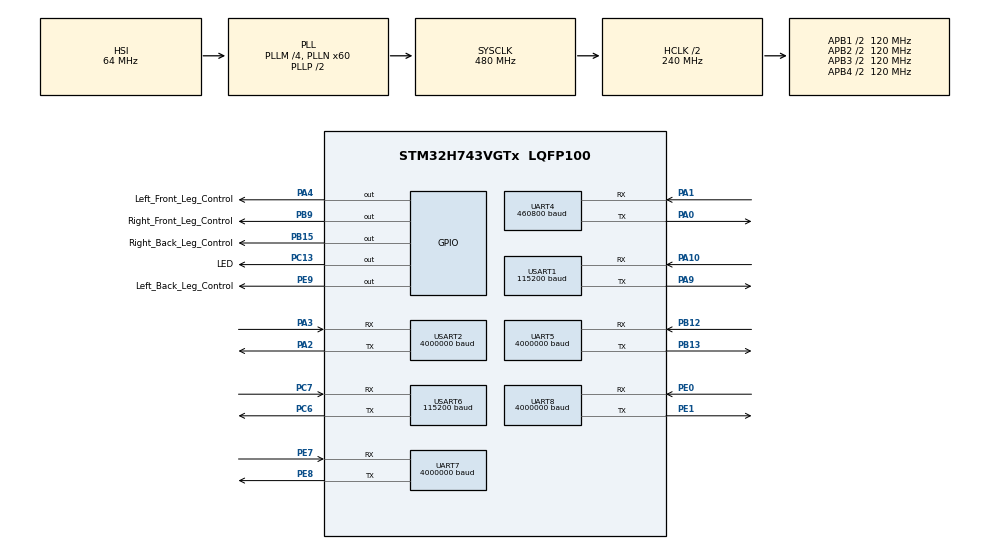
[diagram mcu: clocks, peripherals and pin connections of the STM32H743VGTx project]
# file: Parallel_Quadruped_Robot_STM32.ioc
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Dma.Request0=UART7_RX
Dma.Request1=UART7_TX
Dma.Request2=USART2_RX
Dma.Request3=USART2_TX
Dma.Request4=UART8_RX
Dma.Request5=UART8_TX
Dma.Request6=UART5_RX
Dma.Request7=UART5_TX
Dma.Request8=USART6_RX
Dma.Request9=USART6_TX
Dma.UART5_RX.6.Direction=DMA_PERIPH_TO_MEMORY
Dma.UART5_RX.6.EventEnable=DISABLE
Dma.UART5_RX.6.FIFOMode=DMA_FIFOMODE_DISABLE
Dma.UART5_RX.6.Instance=DMA1_Stream6
Dma.UART5_RX.6.MemDataAlignment=DMA_MDATAALIGN_BYTE
Dma.UART5_RX.6.MemInc=DMA_MINC_ENABLE
Dma.UART5_RX.6.Mode=DMA_NORMAL
Dma.UART5_RX.6.PeriphDataAlignment=DMA_PDATAALIGN_BYTE
Dma.UART5_RX.6.PeriphInc=DMA_PINC_DISABLE
Dma.UART5_RX.6.Polarity=HAL_DMAMUX_REQ_GEN_RISING
Dma.UART5_RX.6.Priority=DMA_PRIORITY_LOW
Dma.UART5_RX.6.RequestNumber=1
Dma.UART5_RX.6.SignalID=NONE
Dma.UART5_RX.6.SyncEnable=DISABLE
Dma.UART5_RX.6.SyncPolarity=HAL_DMAMUX_SYNC_NO_EVENT
Dma.UART5_RX.6.SyncRequestNumber=1
Dma.UART5_RX.6.SyncSignalID=NONE
Dma.UART5_TX.7.Direction=DMA_MEMORY_TO_PERIPH
Dma.UART5_TX.7.EventEnable=DISABLE
Dma.UART5_TX.7.FIFOMode=DMA_FIFOMODE_DISABLE
Dma.UART5_TX.7.Instance=DMA1_Stream7
Dma.UART5_TX.7.MemDataAlignment=DMA_MDATAALIGN_BYTE
Dma.UART5_TX.7.MemInc=DMA_MINC_ENABLE
Dma.UART5_TX.7.Mode=DMA_NORMAL
Dma.UART5_TX.7.PeriphDataAlignment=DMA_PDATAALIGN_BYTE
Dma.UART5_TX.7.PeriphInc=DMA_PINC_DISABLE
Dma.UART5_TX.7.Polarity=HAL_DMAMUX_REQ_GEN_RISING
Dma.UART5_TX.7.Priority=DMA_PRIORITY_LOW
Dma.UART5_TX.7.RequestNumber=1
Dma.UART5_TX.7.SignalID=NONE
Dma.UART5_TX.7.SyncEnable=DISABLE
Dma.UART5_TX.7.SyncPolarity=HAL_DMAMUX_SYNC_NO_EVENT
Dma.UART5_TX.7.SyncRequestNumber=1
Dma.UART5_TX.7.SyncSignalID=NONE
Dma.UART7_RX.0.Direction=DMA_PERIPH_TO_MEMORY
Dma.UART7_RX.0.EventEnable=DISABLE
Dma.UART7_RX.0.FIFOMode=DMA_FIFOMODE_DISABLE
Dma.UART7_RX.0.Instance=DMA1_Stream0
Dma.UART7_RX.0.MemDataAlignment=DMA_MDATAALIGN_BYTE
Dma.UART7_RX.0.MemInc=DMA_MINC_ENABLE
Dma.UART7_RX.0.Mode=DMA_NORMAL
Dma.UART7_RX.0.PeriphDataAlignment=DMA_PDATAALIGN_BYTE
Dma.UART7_RX.0.PeriphInc=DMA_PINC_DISABLE
Dma.UART7_RX.0.Polarity=HAL_DMAMUX_REQ_GEN_RISING
Dma.UART7_RX.0.Priority=DMA_PRIORITY_LOW
Dma.UART7_RX.0.RequestNumber=1
Dma.UART7_RX.0.SignalID=NONE
Dma.UART7_RX.0.SyncEnable=DISABLE
Dma.UART7_RX.0.SyncPolarity=HAL_DMAMUX_SYNC_NO_EVENT
Dma.UART7_RX.0.SyncRequestNumber=1
Dma.UART7_RX.0.SyncSignalID=NONE
Dma.UART7_TX.1.Direction=DMA_MEMORY_TO_PERIPH
Dma.UART7_TX.1.EventEnable=DISABLE
Dma.UART7_TX.1.FIFOMode=DMA_FIFOMODE_ENABLE
Dma.UART7_TX.1.FIFOThreshold=DMA_FIFO_THRESHOLD_FULL
Dma.UART7_TX.1.Instance=DMA1_Stream1
Dma.UART7_TX.1.MemBurst=DMA_MBURST_SINGLE
Dma.UART7_TX.1.MemDataAlignment=DMA_MDATAALIGN_BYTE
Dma.UART7_TX.1.MemInc=DMA_MINC_ENABLE
Dma.UART7_TX.1.Mode=DMA_NORMAL
Dma.UART7_TX.1.PeriphBurst=DMA_PBURST_SINGLE
Dma.UART7_TX.1.PeriphDataAlignment=DMA_PDATAALIGN_BYTE
Dma.UART7_TX.1.PeriphInc=DMA_PINC_DISABLE
Dma.UART7_TX.1.Polarity=HAL_DMAMUX_REQ_GEN_RISING
Dma.UART7_TX.1.Priority=DMA_PRIORITY_LOW
Dma.UART7_TX.1.RequestNumber=1
Dma.UART7_TX.1.SignalID=NONE
Dma.UART7_TX.1.SyncEnable=DISABLE
Dma.UART7_TX.1.SyncPolarity=HAL_DMAMUX_SYNC_NO_EVENT
Dma.UART7_TX.1.SyncRequestNumber=1
Dma.UART7_TX.1.SyncSignalID=NONE
Dma.UART8_RX.4.Direction=DMA_PERIPH_TO_MEMORY
Dma.UART8_RX.4.EventEnable=DISABLE
Dma.UART8_RX.4.FIFOMode=DMA_FIFOMODE_DISABLE
Dma.UART8_RX.4.Instance=DMA1_Stream4
Dma.UART8_RX.4.MemDataAlignment=DMA_MDATAALIGN_BYTE
Dma.UART8_RX.4.MemInc=DMA_MINC_ENABLE
Dma.UART8_RX.4.Mode=DMA_NORMAL
Dma.UART8_RX.4.PeriphDataAlignment=DMA_PDATAALIGN_BYTE
Dma.UART8_RX.4.PeriphInc=DMA_PINC_DISABLE
Dma.UART8_RX.4.Polarity=HAL_DMAMUX_REQ_GEN_RISING
Dma.UART8_RX.4.Priority=DMA_PRIORITY_LOW
Dma.UART8_RX.4.RequestNumber=1
Dma.UART8_RX.4.SignalID=NONE
Dma.UART8_RX.4.SyncEnable=DISABLE
Dma.UART8_RX.4.SyncPolarity=HAL_DMAMUX_SYNC_NO_EVENT
Dma.UART8_RX.4.SyncRequestNumber=1
Dma.UART8_RX.4.SyncSignalID=NONE
Dma.UART8_TX.5.Direction=DMA_MEMORY_TO_PERIPH
Dma.UART8_TX.5.EventEnable=DISABLE
Dma.UART8_TX.5.FIFOMode=DMA_FIFOMODE_DISABLE
Dma.UART8_TX.5.Instance=DMA1_Stream5
Dma.UART8_TX.5.MemDataAlignment=DMA_MDATAALIGN_BYTE
Dma.UART8_TX.5.MemInc=DMA_MINC_ENABLE
Dma.UART8_TX.5.Mode=DMA_NORMAL
Dma.UART8_TX.5.PeriphDataAlignment=DMA_PDATAALIGN_BYTE
Dma.UART8_TX.5.PeriphInc=DMA_PINC_DISABLE
Dma.UART8_TX.5.Polarity=HAL_DMAMUX_REQ_GEN_RISING
Dma.UART8_TX.5.Priority=DMA_PRIORITY_LOW
Dma.UART8_TX.5.RequestNumber=1
Dma.UART8_TX.5.SignalID=NONE
Dma.UART8_TX.5.SyncEnable=DISABLE
Dma.UART8_TX.5.SyncPolarity=HAL_DMAMUX_SYNC_NO_EVENT
Dma.UART8_TX.5.SyncRequestNumber=1
Dma.UART8_TX.5.SyncSignalID=NONE
Dma.USART2_RX.2.Direction=DMA_PERIPH_TO_MEMORY
Dma.USART2_RX.2.EventEnable=DISABLE
Dma.USART2_RX.2.FIFOMode=DMA_FIFOMODE_DISABLE
Dma.USART2_RX.2.Instance=DMA1_Stream2
Dma.USART2_RX.2.MemDataAlignment=DMA_MDATAALIGN_BYTE
Dma.USART2_RX.2.MemInc=DMA_MINC_ENABLE
Dma.USART2_RX.2.Mode=DMA_NORMAL
Dma.USART2_RX.2.PeriphDataAlignment=DMA_PDATAALIGN_BYTE
Dma.USART2_RX.2.PeriphInc=DMA_PINC_DISABLE
Dma.USART2_RX.2.Polarity=HAL_DMAMUX_REQ_GEN_RISING
Dma.USART2_RX.2.Priority=DMA_PRIORITY_LOW
Dma.USART2_RX.2.RequestNumber=1
Dma.USART2_RX.2.SignalID=NONE
Dma.USART2_RX.2.SyncEnable=DISABLE
Dma.USART2_RX.2.SyncPolarity=HAL_DMAMUX_SYNC_NO_EVENT
Dma.USART2_RX.2.SyncRequestNumber=1
Dma.USART2_RX.2.SyncSignalID=NONE
Dma.USART2_TX.3.Direction=DMA_MEMORY_TO_PERIPH
Dma.USART2_TX.3.EventEnable=DISABLE
Dma.USART2_TX.3.FIFOMode=DMA_FIFOMODE_DISABLE
Dma.USART2_TX.3.Instance=DMA1_Stream3
Dma.USART2_TX.3.MemDataAlignment=DMA_MDATAALIGN_BYTE
Dma.USART2_TX.3.MemInc=DMA_MINC_ENABLE
Dma.USART2_TX.3.Mode=DMA_NORMAL
Dma.USART2_TX.3.PeriphDataAlignment=DMA_PDATAALIGN_BYTE
Dma.USART2_TX.3.PeriphInc=DMA_PINC_DISABLE
Dma.USART2_TX.3.Polarity=HAL_DMAMUX_REQ_GEN_RISING
Dma.USART2_TX.3.Priority=DMA_PRIORITY_LOW
Dma.USART2_TX.3.RequestNumber=1
Dma.USART2_TX.3.SignalID=NONE
Dma.USART2_TX.3.SyncEnable=DISABLE
Dma.USART2_TX.3.SyncPolarity=HAL_DMAMUX_SYNC_NO_EVENT
Dma.USART2_TX.3.SyncRequestNumber=1
Dma.USART2_TX.3.SyncSignalID=NONE
Dma.USART6_RX.8.Direction=DMA_PERIPH_TO_MEMORY
Dma.USART6_RX.8.EventEnable=DISABLE
Dma.USART6_RX.8.FIFOMode=DMA_FIFOMODE_DISABLE
Dma.USART6_RX.8.Instance=DMA2_Stream0
Dma.USART6_RX.8.MemDataAlignment=DMA_MDATAALIGN_BYTE
Dma.USART6_RX.8.MemInc=DMA_MINC_ENABLE
Dma.USART6_RX.8.Mode=DMA_NORMAL
Dma.USART6_RX.8.PeriphDataAlignment=DMA_PDATAALIGN_BYTE
Dma.USART6_RX.8.PeriphInc=DMA_PINC_DISABLE
Dma.USART6_RX.8.Polarity=HAL_DMAMUX_REQ_GEN_RISING
Dma.USART6_RX.8.Priority=DMA_PRIORITY_LOW
Dma.USART6_RX.8.RequestNumber=1
Dma.USART6_RX.8.SignalID=NONE
Dma.USART6_RX.8.SyncEnable=DISABLE
Dma.USART6_RX.8.SyncPolarity=HAL_DMAMUX_SYNC_NO_EVENT
Dma.USART6_RX.8.SyncRequestNumber=1
Dma.USART6_RX.8.SyncSignalID=NONE
Dma.USART6_TX.9.Direction=DMA_MEMORY_TO_PERIPH
Dma.USART6_TX.9.EventEnable=DISABLE
Dma.USART6_TX.9.FIFOMode=DMA_FIFOMODE_DISABLE
Dma.USART6_TX.9.Instance=DMA2_Stream1
Dma.USART6_TX.9.MemDataAlignment=DMA_MDATAALIGN_BYTE
Dma.USART6_TX.9.MemInc=DMA_MINC_ENABLE
Dma.USART6_TX.9.Mode=DMA_NORMAL
Dma.USART6_TX.9.PeriphDataAlignment=DMA_PDATAALIGN_BYTE
Dma.USART6_TX.9.PeriphInc=DMA_PINC_DISABLE
Dma.USART6_TX.9.Polarity=HAL_DMAMUX_REQ_GEN_RISING
Dma.USART6_TX.9.Priority=DMA_PRIORITY_LOW
Dma.USART6_TX.9.RequestNumber=1
Dma.USART6_TX.9.SignalID=NONE
Dma.USART6_TX.9.SyncEnable=DISABLE
Dma.USART6_TX.9.SyncPolarity=HAL_DMAMUX_SYNC_NO_EVENT
Dma.USART6_TX.9.SyncRequestNumber=1
Dma.USART6_TX.9.SyncSignalID=NONE
Mcu.Family=STM32H7
Mcu.Name=STM32H743VGTx
Mcu.Package=LQFP100
NVIC.DMA1_Stream0_IRQn=true\:0\:0\:false\:false\:true\:false\:true\:true
NVIC.DMA1_Stream1_IRQn=true\:0\:0\:false\:false\:true\:false\:true\:true
NVIC.DMA1_Stream2_IRQn=true\:0\:0\:false\:false\:true\:false\:true\:true
NVIC.DMA1_Stream3_IRQn=true\:0\:0\:false\:false\:true\:false\:true\:true
NVIC.DMA1_Stream4_IRQn=true\:0\:0\:false\:false\:true\:false\:true\:true
NVIC.DMA1_Stream5_IRQn=true\:0\:0\:false\:false\:true\:false\:true\:true
NVIC.DMA1_Stream6_IRQn=true\:0\:0\:false\:false\:true\:false\:true\:true
NVIC.DMA1_Stream7_IRQn=true\:0\:0\:false\:false\:true\:false\:true\:true
NVIC.DMA2_Stream0_IRQn=true\:0\:0\:false\:false\:true\:false\:true\:true
NVIC.DMA2_Stream1_IRQn=true\:0\:0\:false\:false\:true\:false\:true\:true
NVIC.PriorityGroup=NVIC_PRIORITYGROUP_4
NVIC.TIM7_IRQn=true\:0\:0\:false\:false\:true\:true\:true\:true
NVIC.UART7_IRQn=true\:0\:0\:false\:false\:true\:true\:true\:true
NVIC.UART8_IRQn=true\:0\:0\:false\:false\:true\:true\:true\:true
NVIC.USART1_IRQn=true\:0\:0\:false\:false\:true\:true\:true\:true
NVIC.USART2_IRQn=true\:0\:0\:false\:false\:true\:true\:true\:true
NVIC.USART6_IRQn=true\:0\:0\:false\:false\:true\:true\:true\:true
PA0.Mode=Asynchronous
PA0.Signal=UART4_TX
PA1.Mode=Asynchronous
PA1.Signal=UART4_RX
PA10.Mode=Asynchronous
PA10.Signal=USART1_RX
PA13\ (JTMS/SWDIO).Mode=Serial_Wire
PA13\ (JTMS/SWDIO).Signal=DEBUG_JTMS-SWDIO
PA14\ (JTCK/SWCLK).Mode=Serial_Wire
PA14\ (JTCK/SWCLK).Signal=DEBUG_JTCK-SWCLK
PA2.Mode=Asynchronous
PA2.Signal=USART2_TX
PA3.Mode=Asynchronous
PA3.Signal=USART2_RX
PA4.GPIO_Label=Left_Front_Leg_Control
PA4.GPIO_Speed=GPIO_SPEED_FREQ_LOW
PA4.Signal=GPIO_Output
PA9.Mode=Asynchronous
PA9.Signal=USART1_TX
PB12.Mode=Asynchronous
PB12.Signal=UART5_RX
PB13.Mode=Asynchronous
PB13.Signal=UART5_TX
PB15.GPIO_Label=Right_Back_Leg_Control
PB15.Signal=GPIO_Output
PB9.GPIO_Label=Right_Front_Leg_Control
PB9.Signal=GPIO_Output
PC13.GPIO_Label=LED
PC13.Signal=GPIO_Output
PC6.Mode=Asynchronous
PC6.Signal=USART6_TX
PC7.Mode=Asynchronous
PC7.Signal=USART6_RX
PE0.Mode=Asynchronous
PE0.Signal=UART8_RX
PE1.Mode=Asynchronous
PE1.Signal=UART8_TX
PE7.Mode=Asynchronous
PE7.Signal=UART7_RX
PE8.Mode=Asynchronous
PE8.Signal=UART7_TX
PE9.GPIO_Label=Left_Back_Leg_Control
PE9.Signal=GPIO_Output
ProjectManager.HeapSize=0x200
ProjectManager.StackSize=0x400
ProjectManager.TargetToolchain=CMake
RCC.ADCFreq_Value=129000000
RCC.APB1Freq_Value=120000000
RCC.APB2Freq_Value=120000000
RCC.APB3Freq_Value=120000000
RCC.APB4Freq_Value=120000000
RCC.CortexFreq_Value=480000000
RCC.D1PPRE=RCC_APB3_DIV2
RCC.D2PPRE1=RCC_APB1_DIV2
RCC.D2PPRE2=RCC_APB2_DIV2
RCC.D3PPRE=RCC_APB4_DIV2
RCC.DIVM1=4
RCC.DIVN1=60
RCC.HCLKFreq_Value=240000000
RCC.HPRE=RCC_HCLK_DIV2
RCC.PLL2FRACN=0
RCC.PLL3FRACN=0
RCC.PLLFRACN=0
RCC.SYSCLKFreq_VALUE=480000000
RCC.SYSCLKSource=RCC_SYSCLKSOURCE_PLLCLK
RCC.USBCLockSelection=RCC_USBCLKSOURCE_HSI48
RCC.USBFreq_Value=48000000
TIM7.Period=999
TIM7.Prescaler=239
UART4.BaudRate=460800
UART5.BaudRate=4000000
UART5.FIFOMode=FIFOMODE_ENABLE
UART7.BaudRate=4000000
UART7.FIFOMode=FIFOMODE_ENABLE
UART8.BaudRate=4000000
UART8.FIFOMode=FIFOMODE_ENABLE
USART1.BaudRate=115200
USART1.FIFOMode=FIFOMODE_DISABLE
USART1.VirtualMode-Asynchronous=VM_ASYNC
USART2.BaudRate=4000000
USART2.FIFOMode=FIFOMODE_ENABLE
USART2.VirtualMode-Asynchronous=VM_ASYNC
USART6.BaudRate=115200
USART6.VirtualMode=VM_ASYNC
VP_MEMORYMAP_VS_MEMORYMAP.Mode=CurAppReg
VP_TIM7_VS_ClockSourceINT.Mode=Enable_Timer
board=custom

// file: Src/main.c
/* USER CODE BEGIN Header */
/**
  ******************************************************************************
  * @file           : main.c
  * @brief          : Main program body
  ******************************************************************************
  * @attention
  *
  * Copyright (c) 2026 STMicroelectronics.
  * All rights reserved.
  *
  * This software is licensed under terms that can be found in the LICENSE file
  * in the root directory of this software component.
  * If no LICENSE file comes with this software, it is provided AS-IS.
  *
  ******************************************************************************
  */
/* USER CODE END Header */
#include "main.h"

/* USER CODE BEGIN Includes */
#include "GO-M8010-6.h"
#include "Leg_Control.h"
#include "Motor_Transport.h"
#include "communication.h"
/* USER CODE END Includes */

TIM_HandleTypeDef htim7;

UART_HandleTypeDef huart4;
UART_HandleTypeDef huart5;
UART_HandleTypeDef huart7;
UART_HandleTypeDef huart8;
UART_HandleTypeDef huart1;
UART_HandleTypeDef huart2;
UART_HandleTypeDef huart6;
DMA_HandleTypeDef hdma_uart5_rx;
DMA_HandleTypeDef hdma_uart5_tx;
DMA_HandleTypeDef hdma_uart7_rx;
DMA_HandleTypeDef hdma_uart7_tx;
DMA_HandleTypeDef hdma_uart8_rx;
DMA_HandleTypeDef hdma_uart8_tx;
DMA_HandleTypeDef hdma_usart2_rx;
DMA_HandleTypeDef hdma_usart2_tx;
DMA_HandleTypeDef hdma_usart6_rx;
DMA_HandleTypeDef hdma_usart6_tx;

/* USER CODE BEGIN PV */
volatile int main_task_start = 0;

/* Transport is verified with zero output; keep PC/Web telemetry enabled. */
#define MOTOR_TRANSPORT_DIAG_ONLY 0U
/* The ESP32 UI has priority over verbose UART6 transport diagnostics. */
/* Telemetry has priority over transport diagnostics on the shared USART6. */
#define MOTOR_TRANSPORT_RUNTIME_LOG_ENABLED 0U
#define MOTOR_TRANSPORT_LOG_GUARD_MS 30U

Leg_HandlerTypeDef Left_Front_Leg;
Leg_HandlerTypeDef Right_Front_Leg;
Leg_HandlerTypeDef Left_Back_Leg;
Leg_HandlerTypeDef Right_Back_Leg;

// 腿部结构体
Leg_HandlerTypeDef* Legs[4] = {
  &Left_Front_Leg,
  &Right_Front_Leg,
  &Left_Back_Leg,
  &Right_Back_Leg,
};

RC_DataTypeDef rc_data;
volatile uint32_t last_valid_packet_tick = 0;
static uint32_t last_motor_angle_report_tick = 0;
static uint32_t last_motor_status_report_tick = 0;
#if MOTOR_TRANSPORT_DIAG_ONLY || MOTOR_TRANSPORT_RUNTIME_LOG_ENABLED
static uint32_t last_motor_transport_report_tick = 500;
#endif

/* USER CODE END PV */

void SystemClock_Config(void);
static void MX_GPIO_Init(void);
static void MX_DMA_Init(void);
static void MX_USART1_UART_Init(void);
static void MX_USART2_UART_Init(void);
static void MX_UART4_Init(void);
static void MX_UART5_Init(void);
static void MX_UART7_Init(void);
static void MX_UART8_Init(void);
static void MX_USART6_UART_Init(void);
static void MX_TIM7_Init(void);

/* USER CODE BEGIN 0 */

// 定时器回调函数
void HAL_TIM_PeriodElapsedCallback(TIM_HandleTypeDef *htim)
{
  if (htim->Instance == TIM7)
  {
    main_task_start = 1;
    Motor_Transport_Tick();
  }
}

// UART接受满回调函数
void HAL_UART_TxCpltCallback(UART_HandleTypeDef *huart)
{
  if (Motor_Transport_HandleTxComplete(huart)) return;

  if (huart->Instance == UART4)
  {
    // IMU
  }
  else if (huart->Instance == USART6)
  {
    Communication_NotifyTxComplete();
  }
  /* Motor UART TX is owned exclusively by Motor_Transport. */
}

void HAL_UARTEx_RxEventCallback(UART_HandleTypeDef *huart, uint16_t Size)
{
  if (huart->Instance == UART4)
  {
    // IMU
  }
  else if (huart->Instance == USART6)
  {
    Communication_RxCallback(huart, Size);
  }
  /* Motor UART RX is owned exclusively by Motor_Transport (circular DMA). */
}

void HAL_UART_ErrorCallback(UART_HandleTypeDef *huart)
{
  if (huart->Instance == USART6)
  {
    Communication_HandleUartError(huart);
    return;
  }
  (void)Motor_Transport_HandleError(huart);
}
/* USER CODE END 0 */

int main(void)
{

  /* MCU Configuration--------------------------------------------------------*/

  /* Reset of all peripherals, Initializes the Flash interface and the Systick. */
  HAL_Init();

  /* Configure the system clock */
  SystemClock_Config();

  /* Initialize all configured peripherals */
  MX_GPIO_Init();
  MX_DMA_Init();
  MX_USART1_UART_Init();
  MX_USART2_UART_Init();
  MX_UART4_Init();
  MX_UART5_Init();
  MX_UART7_Init();
  MX_UART8_Init();
  MX_USART6_UART_Init();
  MX_TIM7_Init();
  /* USER CODE BEGIN 2 */

  // 初始化ESP32通信（USART6 DMA接收）
  Communication_Init(&huart6);
  Leg_Control_InitSafe();

  // 等待ESP32握手（收到第一包有效数据），LED闪烁指示等待状态
  uint32_t handshake_led_tick = HAL_GetTick();
  while (!Communication_IsHandshakeDone())
  {
    Communication_Task();
    if ((HAL_GetTick() - handshake_led_tick) >= 200U)
    {
      handshake_led_tick = HAL_GetTick();
      HAL_GPIO_TogglePin(LED_GPIO_Port, LED_Pin);
    }
    HAL_Delay(1);
  }
  HAL_GPIO_WritePin(LED_GPIO_Port, LED_Pin, GPIO_PIN_RESET); // 握手成功，LED常亮

  // 握手成功后再开启控制定时器
  Leg_Control_Handshake();
#if !MOTOR_TRANSPORT_DIAG_ONLY
  Communication_SendMotorStatus();
#endif
  Communication_ResetWatchdog();
  HAL_TIM_Base_Start_IT(&htim7);

  /* USER CODE END 2 */

  /* Infinite loop */
  /* USER CODE BEGIN WHILE */
  while (1)
  {
    Motor_Transport_Service();

    // 1ms进行一次的任务
    if (main_task_start == 1)
    {
      main_task_start = 0;

      Communication_Task();
      /* Leg_Control_Service retains safety monitoring (trajectory timeout,
         link loss, offline detection) — motor commands go exclusively through
         Motor_Transport + Motor_LegTrajectory (software PID, Kp=Kw=0). */
      Leg_Control_Service(HAL_GetTick());
#if !MOTOR_TRANSPORT_DIAG_ONLY
      uint32_t telemetry_tick = HAL_GetTick();
      if (telemetry_tick - last_motor_status_report_tick >= 1000)
      {
        /* USART6 has one non-blocking TX buffer.  The 100 ms angle report and
           1 s status report otherwise become due in the same loop, causing
           the later status report to be dropped while TX is busy.  Give the
           safety/status frame priority and deliberately skip that one angle
           sample. */
        last_motor_status_report_tick = telemetry_tick;
        last_motor_angle_report_tick = telemetry_tick;
        Communication_SendMotorStatus();
      }
      else if (telemetry_tick - last_motor_angle_report_tick >= 100)
      {
        last_motor_angle_report_tick = telemetry_tick;
        Communication_SendMotorAngles();
      }
#if MOTOR_TRANSPORT_RUNTIME_LOG_ENABLED
      /* USART6 has one non-blocking TX buffer.  Leave the angle/status frame
         time to finish before emitting the low-rate transport diagnostic. */
      if (HAL_GetTick() - last_motor_transport_report_tick >= 1000 &&
          HAL_GetTick() - last_motor_angle_report_tick >= MOTOR_TRANSPORT_LOG_GUARD_MS &&
          HAL_GetTick() - last_motor_status_report_tick >= MOTOR_TRANSPORT_LOG_GUARD_MS)
      {
        last_motor_transport_report_tick = HAL_GetTick();
        Communication_SendMotorTransportStatus();
      }
#endif
#else
      (void)last_motor_angle_report_tick;
      (void)last_motor_status_report_tick;
      (void)Communication_SendMotorTransportStatus;
      if (HAL_GetTick() - last_motor_transport_report_tick >= 1000)
      {
        last_motor_transport_report_tick = HAL_GetTick();
        HAL_TIM_Base_Stop_IT(&htim7);
        Communication_SendMotorTransportSummaryBlocking();
        HAL_TIM_Base_Start_IT(&htim7);
      }
#endif

    }

    /* USER CODE END WHILE */

  }
}

void SystemClock_Config(void)
{
  RCC_OscInitTypeDef RCC_OscInitStruct = {0};
  RCC_ClkInitTypeDef RCC_ClkInitStruct = {0};

  /** Supply configuration update enable
  */
  HAL_PWREx_ConfigSupply(PWR_LDO_SUPPLY);

  /** Configure the main internal regulator output voltage
  */
  __HAL_PWR_VOLTAGESCALING_CONFIG(PWR_REGULATOR_VOLTAGE_SCALE0);

  while(!__HAL_PWR_GET_FLAG(PWR_FLAG_VOSRDY)) {}

  /** Initializes the RCC Oscillators according to the specified parameters
  * in the RCC_OscInitTypeDef structure.
  */
  RCC_OscInitStruct.OscillatorType = RCC_OSCILLATORTYPE_HSI;
  RCC_OscInitStruct.HSIState = RCC_HSI_DIV1;
  RCC_OscInitStruct.HSICalibrationValue = RCC_HSICALIBRATION_DEFAULT;
  RCC_OscInitStruct.PLL.PLLState = RCC_PLL_ON;
  RCC_OscInitStruct.PLL.PLLSource = RCC_PLLSOURCE_HSI;
  RCC_OscInitStruct.PLL.PLLM = 4;
  RCC_OscInitStruct.PLL.PLLN = 60;
  RCC_OscInitStruct.PLL.PLLP = 2;
  RCC_OscInitStruct.PLL.PLLQ = 2;
  RCC_OscInitStruct.PLL.PLLR = 2;
  RCC_OscInitStruct.PLL.PLLRGE = RCC_PLL1VCIRANGE_3;
  RCC_OscInitStruct.PLL.PLLVCOSEL = RCC_PLL1VCOWIDE;
  RCC_OscInitStruct.PLL.PLLFRACN = 0;
  if (HAL_RCC_OscConfig(&RCC_OscInitStruct) != HAL_OK)
  {
    Error_Handler();
  }

  /** Initializes the CPU, AHB and APB buses clocks
  */
  RCC_ClkInitStruct.ClockType = RCC_CLOCKTYPE_HCLK|RCC_CLOCKTYPE_SYSCLK
                              |RCC_CLOCKTYPE_PCLK1|RCC_CLOCKTYPE_PCLK2
                              |RCC_CLOCKTYPE_D3PCLK1|RCC_CLOCKTYPE_D1PCLK1;
  RCC_ClkInitStruct.SYSCLKSource = RCC_SYSCLKSOURCE_PLLCLK;
  RCC_ClkInitStruct.SYSCLKDivider = RCC_SYSCLK_DIV1;
  RCC_ClkInitStruct.AHBCLKDivider = RCC_HCLK_DIV2;
  RCC_ClkInitStruct.APB3CLKDivider = RCC_APB3_DIV2;
  RCC_ClkInitStruct.APB1CLKDivider = RCC_APB1_DIV2;
  RCC_ClkInitStruct.APB2CLKDivider = RCC_APB2_DIV2;
  RCC_ClkInitStruct.APB4CLKDivider = RCC_APB4_DIV2;

  if (HAL_RCC_ClockConfig(&RCC_ClkInitStruct, FLASH_LATENCY_4) != HAL_OK)
  {
    Error_Handler();
  }
}

static void MX_TIM7_Init(void)
{

  TIM_MasterConfigTypeDef sMasterConfig = {0};

  htim7.Instance = TIM7;
  htim7.Init.Prescaler = 239;
  htim7.Init.CounterMode = TIM_COUNTERMODE_UP;
  htim7.Init.Period = 999;
  htim7.Init.AutoReloadPreload = TIM_AUTORELOAD_PRELOAD_DISABLE;
  if (HAL_TIM_Base_Init(&htim7) != HAL_OK)
  {
    Error_Handler();
  }
  sMasterConfig.MasterOutputTrigger = TIM_TRGO_RESET;
  sMasterConfig.MasterSlaveMode = TIM_MASTERSLAVEMODE_DISABLE;
  if (HAL_TIMEx_MasterConfigSynchronization(&htim7, &sMasterConfig) != HAL_OK)
  {
    Error_Handler();
  }

}

static void MX_UART4_Init(void)
{

  huart4.Instance = UART4;
  huart4.Init.BaudRate = 460800;
  huart4.Init.WordLength = UART_WORDLENGTH_8B;
  huart4.Init.StopBits = UART_STOPBITS_1;
  huart4.Init.Parity = UART_PARITY_NONE;
  huart4.Init.Mode = UART_MODE_TX_RX;
  huart4.Init.HwFlowCtl = UART_HWCONTROL_NONE;
  huart4.Init.OverSampling = UART_OVERSAMPLING_16;
  huart4.Init.OneBitSampling = UART_ONE_BIT_SAMPLE_DISABLE;
  huart4.Init.ClockPrescaler = UART_PRESCALER_DIV1;
  huart4.AdvancedInit.AdvFeatureInit = UART_ADVFEATURE_NO_INIT;
  if (HAL_UART_Init(&huart4) != HAL_OK)
  {
    Error_Handler();
  }
  if (HAL_UARTEx_SetTxFifoThreshold(&huart4, UART_TXFIFO_THRESHOLD_1_8) != HAL_OK)
  {
    Error_Handler();
  }
  if (HAL_UARTEx_SetRxFifoThreshold(&huart4, UART_RXFIFO_THRESHOLD_1_8) != HAL_OK)
  {
    Error_Handler();
  }
  if (HAL_UARTEx_DisableFifoMode(&huart4) != HAL_OK)
  {
    Error_Handler();
  }

}

static void MX_UART5_Init(void)
{

  huart5.Instance = UART5;
  huart5.Init.BaudRate = 4000000;
  huart5.Init.WordLength = UART_WORDLENGTH_8B;
  huart5.Init.StopBits = UART_STOPBITS_1;
  huart5.Init.Parity = UART_PARITY_NONE;
  huart5.Init.Mode = UART_MODE_TX_RX;
  huart5.Init.HwFlowCtl = UART_HWCONTROL_NONE;
  huart5.Init.OverSampling = UART_OVERSAMPLING_16;
  huart5.Init.OneBitSampling = UART_ONE_BIT_SAMPLE_DISABLE;
  huart5.Init.ClockPrescaler = UART_PRESCALER_DIV1;
  huart5.AdvancedInit.AdvFeatureInit = UART_ADVFEATURE_NO_INIT;
  if (HAL_UART_Init(&huart5) != HAL_OK)
  {
    Error_Handler();
  }
  if (HAL_UARTEx_SetTxFifoThreshold(&huart5, UART_TXFIFO_THRESHOLD_1_8) != HAL_OK)
  {
    Error_Handler();
  }
  if (HAL_UARTEx_SetRxFifoThreshold(&huart5, UART_RXFIFO_THRESHOLD_1_8) != HAL_OK)
  {
    Error_Handler();
  }
  if (HAL_UARTEx_DisableFifoMode(&huart5) != HAL_OK)
  {
    Error_Handler();
  }

}

static void MX_UART7_Init(void)
{

  huart7.Instance = UART7;
  huart7.Init.BaudRate = 4000000;
  huart7.Init.WordLength = UART_WORDLENGTH_8B;
  huart7.Init.StopBits = UART_STOPBITS_1;
  huart7.Init.Parity = UART_PARITY_NONE;
  huart7.Init.Mode = UART_MODE_TX_RX;
  huart7.Init.HwFlowCtl = UART_HWCONTROL_NONE;
  huart7.Init.OverSampling = UART_OVERSAMPLING_16;
  huart7.Init.OneBitSampling = UART_ONE_BIT_SAMPLE_DISABLE;
  huart7.Init.ClockPrescaler = UART_PRESCALER_DIV1;
  huart7.AdvancedInit.AdvFeatureInit = UART_ADVFEATURE_NO_INIT;
  if (HAL_UART_Init(&huart7) != HAL_OK)
  {
    Error_Handler();
  }
  if (HAL_UARTEx_SetTxFifoThreshold(&huart7, UART_TXFIFO_THRESHOLD_1_8) != HAL_OK)
  {
    Error_Handler();
  }
  if (HAL_UARTEx_SetRxFifoThreshold(&huart7, UART_RXFIFO_THRESHOLD_1_8) != HAL_OK)
  {
    Error_Handler();
  }
  if (HAL_UARTEx_DisableFifoMode(&huart7) != HAL_OK)
  {
    Error_Handler();
  }

}

static void MX_UART8_Init(void)
{

  huart8.Instance = UART8;
  huart8.Init.BaudRate = 4000000;
  huart8.Init.WordLength = UART_WORDLENGTH_8B;
  huart8.Init.StopBits = UART_STOPBITS_1;
  huart8.Init.Parity = UART_PARITY_NONE;
  huart8.Init.Mode = UART_MODE_TX_RX;
  huart8.Init.HwFlowCtl = UART_HWCONTROL_NONE;
  huart8.Init.OverSampling = UART_OVERSAMPLING_16;
  huart8.Init.OneBitSampling = UART_ONE_BIT_SAMPLE_DISABLE;
  huart8.Init.ClockPrescaler = UART_PRESCALER_DIV1;
  huart8.AdvancedInit.AdvFeatureInit = UART_ADVFEATURE_NO_INIT;
  if (HAL_UART_Init(&huart8) != HAL_OK)
  {
    Error_Handler();
  }
  if (HAL_UARTEx_SetTxFifoThreshold(&huart8, UART_TXFIFO_THRESHOLD_1_8) != HAL_OK)
  {
    Error_Handler();
  }
  if (HAL_UARTEx_SetRxFifoThreshold(&huart8, UART_RXFIFO_THRESHOLD_1_8) != HAL_OK)
  {
    Error_Handler();
  }
  if (HAL_UARTEx_DisableFifoMode(&huart8) != HAL_OK)
  {
    Error_Handler();
  }

}

static void MX_USART1_UART_Init(void)
{

  huart1.Instance = USART1;
  huart1.Init.BaudRate = 115200;
  huart1.Init.WordLength = UART_WORDLENGTH_8B;
  huart1.Init.StopBits = UART_STOPBITS_1;
  huart1.Init.Parity = UART_PARITY_NONE;
  huart1.Init.Mode = UART_MODE_TX_RX;
  huart1.Init.HwFlowCtl = UART_HWCONTROL_NONE;
  huart1.Init.OverSampling = UART_OVERSAMPLING_16;
  huart1.Init.OneBitSampling = UART_ONE_BIT_SAMPLE_DISABLE;
  huart1.Init.ClockPrescaler = UART_PRESCALER_DIV1;
  huart1.AdvancedInit.AdvFeatureInit = UART_ADVFEATURE_NO_INIT;
  if (HAL_UART_Init(&huart1) != HAL_OK)
  {
    Error_Handler();
  }
  if (HAL_UARTEx_SetTxFifoThreshold(&huart1, UART_TXFIFO_THRESHOLD_1_8) != HAL_OK)
  {
    Error_Handler();
  }
  if (HAL_UARTEx_SetRxFifoThreshold(&huart1, UART_RXFIFO_THRESHOLD_1_8) != HAL_OK)
  {
    Error_Handler();
  }
  if (HAL_UARTEx_DisableFifoMode(&huart1) != HAL_OK)
  {
    Error_Handler();
  }

}

static void MX_USART2_UART_Init(void)
{

  huart2.Instance = USART2;
  huart2.Init.BaudRate = 4000000;
  huart2.Init.WordLength = UART_WORDLENGTH_8B;
  huart2.Init.StopBits = UART_STOPBITS_1;
  huart2.Init.Parity = UART_PARITY_NONE;
  huart2.Init.Mode = UART_MODE_TX_RX;
  huart2.Init.HwFlowCtl = UART_HWCONTROL_NONE;
  huart2.Init.OverSampling = UART_OVERSAMPLING_16;
  huart2.Init.OneBitSampling = UART_ONE_BIT_SAMPLE_DISABLE;
  huart2.Init.ClockPrescaler = UART_PRESCALER_DIV1;
  huart2.AdvancedInit.AdvFeatureInit = UART_ADVFEATURE_NO_INIT;
  if (HAL_UART_Init(&huart2) != HAL_OK)
  {
    Error_Handler();
  }
  if (HAL_UARTEx_SetTxFifoThreshold(&huart2, UART_TXFIFO_THRESHOLD_1_8) != HAL_OK)
  {
    Error_Handler();
  }
  if (HAL_UARTEx_SetRxFifoThreshold(&huart2, UART_RXFIFO_THRESHOLD_1_8) != HAL_OK)
  {
    Error_Handler();
  }
  if (HAL_UARTEx_DisableFifoMode(&huart2) != HAL_OK)
  {
    Error_Handler();
  }

}

static void MX_USART6_UART_Init(void)
{

  huart6.Instance = USART6;
  huart6.Init.BaudRate = 115200;
  huart6.Init.WordLength = UART_WORDLENGTH_8B;
  huart6.Init.StopBits = UART_STOPBITS_1;
  huart6.Init.Parity = UART_PARITY_NONE;
  huart6.Init.Mode = UART_MODE_TX_RX;
  huart6.Init.HwFlowCtl = UART_HWCONTROL_NONE;
  huart6.Init.OverSampling = UART_OVERSAMPLING_16;
  huart6.Init.OneBitSampling = UART_ONE_BIT_SAMPLE_DISABLE;
  huart6.Init.ClockPrescaler = UART_PRESCALER_DIV1;
  huart6.AdvancedInit.AdvFeatureInit = UART_ADVFEATURE_NO_INIT;
  if (HAL_UART_Init(&huart6) != HAL_OK)
  {
    Error_Handler();
  }
  if (HAL_UARTEx_SetTxFifoThreshold(&huart6, UART_TXFIFO_THRESHOLD_1_8) != HAL_OK)
  {
    Error_Handler();
  }
  if (HAL_UARTEx_SetRxFifoThreshold(&huart6, UART_RXFIFO_THRESHOLD_1_8) != HAL_OK)
  {
    Error_Handler();
  }
  if (HAL_UARTEx_DisableFifoMode(&huart6) != HAL_OK)
  {
    Error_Handler();
  }

}

static void MX_DMA_Init(void)
{

  /* DMA controller clock enable */
  __HAL_RCC_DMA1_CLK_ENABLE();
  __HAL_RCC_DMA2_CLK_ENABLE();

  /* DMA interrupt init */
  /* DMA1_Stream0_IRQn interrupt configuration */
  HAL_NVIC_SetPriority(DMA1_Stream0_IRQn, 0, 0);
  HAL_NVIC_EnableIRQ(DMA1_Stream0_IRQn);
  /* DMA1_Stream1_IRQn interrupt configuration */
  HAL_NVIC_SetPriority(DMA1_Stream1_IRQn, 0, 0);
  HAL_NVIC_EnableIRQ(DMA1_Stream1_IRQn);
  /* DMA1_Stream2_IRQn interrupt configuration */
  HAL_NVIC_SetPriority(DMA1_Stream2_IRQn, 0, 0);
  HAL_NVIC_EnableIRQ(DMA1_Stream2_IRQn);
  /* DMA1_Stream3_IRQn interrupt configuration */
  HAL_NVIC_SetPriority(DMA1_Stream3_IRQn, 0, 0);
  HAL_NVIC_EnableIRQ(DMA1_Stream3_IRQn);
  /* DMA1_Stream4_IRQn interrupt configuration */
  HAL_NVIC_SetPriority(DMA1_Stream4_IRQn, 0, 0);
  HAL_NVIC_EnableIRQ(DMA1_Stream4_IRQn);
  /* DMA1_Stream5_IRQn interrupt configuration */
  HAL_NVIC_SetPriority(DMA1_Stream5_IRQn, 0, 0);
  HAL_NVIC_EnableIRQ(DMA1_Stream5_IRQn);
  /* DMA1_Stream6_IRQn interrupt configuration */
  HAL_NVIC_SetPriority(DMA1_Stream6_IRQn, 0, 0);
  HAL_NVIC_EnableIRQ(DMA1_Stream6_IRQn);
  /* DMA1_Stream7_IRQn interrupt configuration */
  HAL_NVIC_SetPriority(DMA1_Stream7_IRQn, 0, 0);
  HAL_NVIC_EnableIRQ(DMA1_Stream7_IRQn);
  /* DMA2_Stream0_IRQn interrupt configuration */
  HAL_NVIC_SetPriority(DMA2_Stream0_IRQn, 0, 0);
  HAL_NVIC_EnableIRQ(DMA2_Stream0_IRQn);
  /* DMA2_Stream1_IRQn interrupt configuration */
  HAL_NVIC_SetPriority(DMA2_Stream1_IRQn, 0, 0);
  HAL_NVIC_EnableIRQ(DMA2_Stream1_IRQn);

}

static void MX_GPIO_Init(void)
{
  GPIO_InitTypeDef GPIO_InitStruct = {0};

  /* GPIO Ports Clock Enable */
  __HAL_RCC_GPIOC_CLK_ENABLE();
  __HAL_RCC_GPIOA_CLK_ENABLE();
  __HAL_RCC_GPIOE_CLK_ENABLE();
  __HAL_RCC_GPIOB_CLK_ENABLE();

  /*Configure GPIO pin Output Level */
  HAL_GPIO_WritePin(LED_GPIO_Port, LED_Pin, GPIO_PIN_RESET);

  /*Configure GPIO pin Output Level */
  HAL_GPIO_WritePin(Left_Front_Leg_Control_GPIO_Port, Left_Front_Leg_Control_Pin, GPIO_PIN_RESET);

  /*Configure GPIO pin Output Level */
  HAL_GPIO_WritePin(Left_Back_Leg_Control_GPIO_Port, Left_Back_Leg_Control_Pin, GPIO_PIN_RESET);

  /*Configure GPIO pin Output Level */
  HAL_GPIO_WritePin(GPIOB, Right_Back_Leg_Control_Pin|Right_Front_Leg_Control_Pin, GPIO_PIN_RESET);

  /*Configure GPIO pin : LED_Pin */
  GPIO_InitStruct.Pin = LED_Pin;
  GPIO_InitStruct.Mode = GPIO_MODE_OUTPUT_PP;
  GPIO_InitStruct.Pull = GPIO_NOPULL;
  GPIO_InitStruct.Speed = GPIO_SPEED_FREQ_LOW;
  HAL_GPIO_Init(LED_GPIO_Port, &GPIO_InitStruct);

  /*Configure GPIO pin : Left_Front_Leg_Control_Pin */
  GPIO_InitStruct.Pin = Left_Front_Leg_Control_Pin;
  GPIO_InitStruct.Mode = GPIO_MODE_OUTPUT_PP;
  GPIO_InitStruct.Pull = GPIO_NOPULL;
  GPIO_InitStruct.Speed = GPIO_SPEED_FREQ_LOW;
  HAL_GPIO_Init(Left_Front_Leg_Control_GPIO_Port, &GPIO_InitStruct);

  /*Configure GPIO pin : Left_Back_Leg_Control_Pin */
  GPIO_InitStruct.Pin = Left_Back_Leg_Control_Pin;
  GPIO_InitStruct.Mode = GPIO_MODE_OUTPUT_PP;
  GPIO_InitStruct.Pull = GPIO_NOPULL;
  GPIO_InitStruct.Speed = GPIO_SPEED_FREQ_LOW;
  HAL_GPIO_Init(Left_Back_Leg_Control_GPIO_Port, &GPIO_InitStruct);

  /*Configure GPIO pins : Right_Back_Leg_Control_Pin Right_Front_Leg_Control_Pin */
  GPIO_InitStruct.Pin = Right_Back_Leg_Control_Pin|Right_Front_Leg_Control_Pin;
  GPIO_InitStruct.Mode = GPIO_MODE_OUTPUT_PP;
  GPIO_InitStruct.Pull = GPIO_NOPULL;
  GPIO_InitStruct.Speed = GPIO_SPEED_FREQ_LOW;
  HAL_GPIO_Init(GPIOB, &GPIO_InitStruct);

}

void Error_Handler(void)
{
  __disable_irq();
  while (1)
  {
  }
}
